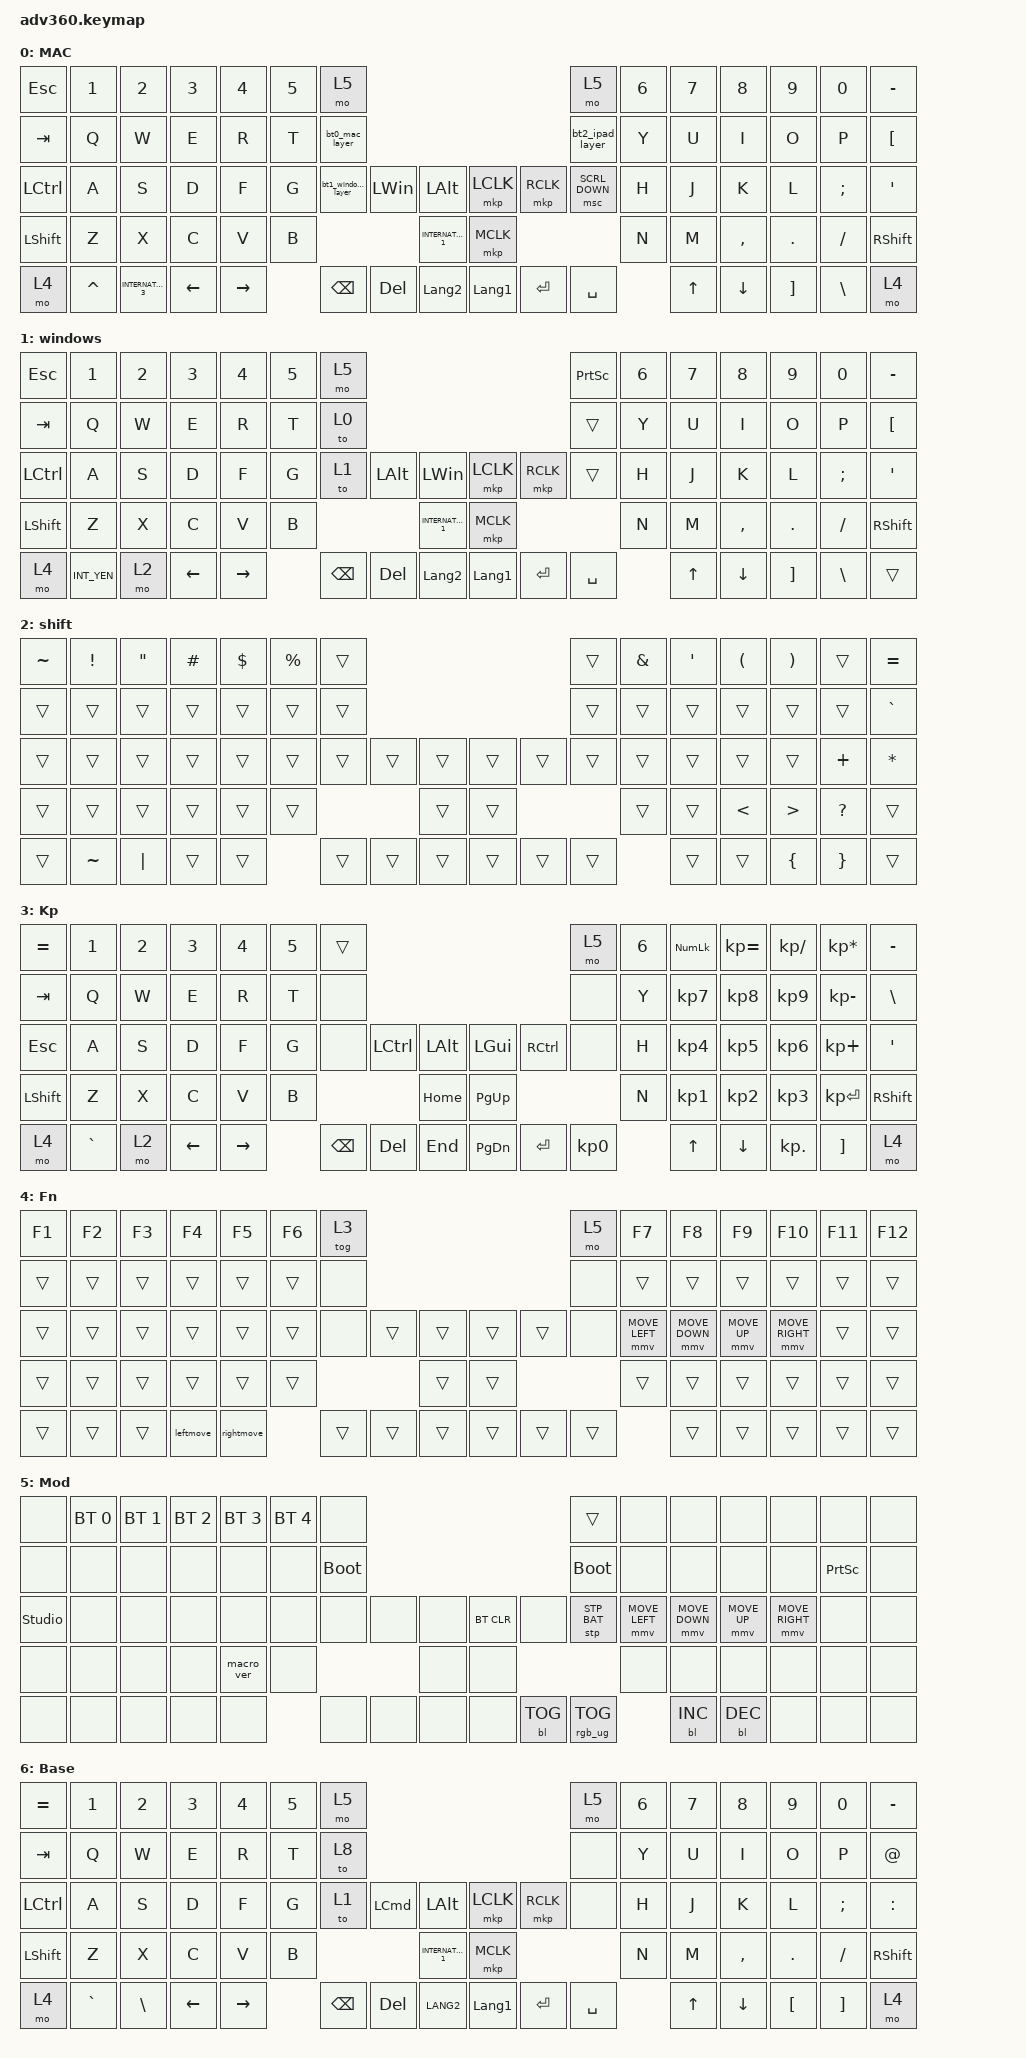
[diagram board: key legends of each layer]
#include <dt-bindings/zmk/stp.h>
#include <behaviors.dtsi>
#include <dt-bindings/zmk/backlight.h>
#include <dt-bindings/zmk/bt.h>
#include <dt-bindings/zmk/keys.h>
#include <dt-bindings/zmk/pointing.h>
#include <dt-bindings/zmk/rgb.h>

/ {
    behaviors {
        #include "macros.dtsi"
      #include "version.dtsi"

        hm: homerow_mods {
            compatible = "zmk,behavior-hold-tap";
            label = "HOMEROW_MODS";
            #binding-cells = <2>;
            tapping-term-ms = <200>;
            quick_tap_ms = <175>;
            flavor = "tap-preferred";
            bindings = <&kp>, <&kp>;
        };
    };

    combos { compatible = "zmk,combos"; };

    macros {
        leftmove: new_macro {
            compatible = "zmk,behavior-macro";
            #binding-cells = <0>;
            bindings =
                <&kp LCTRL>,
                <&macro_tap>,
                <&kp LEFT_WIN>,
                <&macro_tap>,
                <&kp LEFT>;

            label = "NEW_MACRO";
        };

        rightmove: right_move {
            compatible = "zmk,behavior-macro";
            #binding-cells = <0>;
            bindings =
                <&kp LCTRL>,
                <&macro_tap>,
                <&kp LEFT_WIN>,
                <&macro_press>,
                <&kp RIGHT>;

            label = "RIGHT_MOVE";
        };

        bt1_windows_layer: bt1_windows_layer {
            compatible = "zmk,behavior-macro";
            #binding-cells = <0>;
            bindings = <&bt BT_SEL 1 &to 1>;
            label = "BT1_WINDOWS_LAYER";
        };

        bt0_mac_layer: bt0_mac_layer {
            compatible = "zmk,behavior-macro";
            #binding-cells = <0>;
            bindings = <&bt BT_SEL 0 &to 0>;
            label = "BT0_MAC_LAYER";
        };

        bt2_ipad_layer: bt3_ipad_layer {
            compatible = "zmk,behavior-macro";
            #binding-cells = <0>;
            bindings = <&bt BT_SEL 2 &to 0>;
            label = "BT3_IPAD_LAYER";
        };
    };

    keymap {
        compatible = "zmk,keymap";

        MAC {
            bindings = <
&kp ESC    &kp N1     &kp N2               &kp N3          &kp N4     &kp N5  &mo 5                                                                                 &mo 5            &kp N6  &kp N7        &kp N8     &kp N9             &kp N0         &kp MINUS
&kp TAB    &kp Q      &kp W                &kp E           &kp R      &kp T   &bt0_mac_layer                                                                        &bt2_ipad_layer  &kp Y   &kp U         &kp I      &kp O              &kp P          &kp LEFT_BRACKET
&kp LCTRL  &kp A      &kp S                &kp D           &kp F      &kp G   &bt1_windows_layer  &kp LEFT_WIN  &kp LEFT_ALT             &mkp LCLK       &mkp RCLK  &msc SCRL_DOWN   &kp H   &kp J         &kp K      &kp L              &kp SEMICOLON  &kp SINGLE_QUOTE
&kp LSHFT  &kp Z      &kp X                &kp C           &kp V      &kp B                                     &kp INTERNATIONAL_1      &mkp MCLK                                   &kp N   &kp M         &kp COMMA  &kp PERIOD         &kp SLASH      &kp RIGHT_SHIFT
&mo 4      &kp CARET  &kp INTERNATIONAL_3  &kp LEFT_ARROW  &kp RIGHT          &kp BACKSPACE       &kp DEL       &kp LANGUAGE_2           &kp LANGUAGE_1  &kp ENTER  &kp SPACE                &kp UP_ARROW  &kp DOWN   &kp RIGHT_BRACKET  &kp BACKSLASH  &mo 4
            >;
        };

        windows {
            bindings = <
&kp ESC    &kp N1       &kp N2  &kp N3          &kp N4     &kp N5  &mo 5                                                                            &kp PRINTSCREEN  &kp N6  &kp N7        &kp N8     &kp N9             &kp N0         &kp MINUS
&kp TAB    &kp Q        &kp W   &kp E           &kp R      &kp T   &to 0                                                                            &trans           &kp Y   &kp U         &kp I      &kp O              &kp P          &kp LEFT_BRACKET
&kp LCTRL  &kp A        &kp S   &kp D           &kp F      &kp G   &to 1          &kp LEFT_ALT  &kp LEFT_WIN             &mkp LCLK       &mkp RCLK  &trans           &kp H   &kp J         &kp K      &kp L              &kp SEMICOLON  &kp SINGLE_QUOTE
&kp LSHFT  &kp Z        &kp X   &kp C           &kp V      &kp B                                &kp INTERNATIONAL_1      &mkp MCLK                                   &kp N   &kp M         &kp COMMA  &kp PERIOD         &kp SLASH      &kp RIGHT_SHIFT
&mo 4      &kp INT_YEN  &mo 2   &kp LEFT_ARROW  &kp RIGHT          &kp BACKSPACE  &kp DEL       &kp LANGUAGE_2           &kp LANGUAGE_1  &kp ENTER  &kp SPACE                &kp UP_ARROW  &kp DOWN   &kp RIGHT_BRACKET  &kp BACKSLASH  &trans
            >;
        };

        shift {
            bindings = <
&kp TILDE  &kp EXCLAMATION  &kp DOUBLE_QUOTES  &kp HASH  &kp DOLLAR  &kp PERCENT  &trans                                      &trans  &kp AMPERSAND  &kp SQT  &kp LEFT_PARENTHESIS  &kp RIGHT_PARENTHESIS  &trans           &kp EQUAL
&trans     &trans           &trans             &trans    &trans      &trans       &trans                                      &trans  &trans         &trans   &trans                &trans                 &trans           &kp GRAVE
&trans     &trans           &trans             &trans    &trans      &trans       &trans  &trans  &trans      &trans  &trans  &trans  &trans         &trans   &trans                &trans                 &kp PLUS         &kp ASTERISK
&trans     &trans           &trans             &trans    &trans      &trans                       &trans      &trans                  &trans         &trans   &kp LESS_THAN         &kp GREATER_THAN       &kp QUESTION     &trans
&trans     &kp TILDE        &kp PIPE           &trans    &trans                   &trans  &trans  &trans      &trans  &trans  &trans                 &trans   &trans                &kp LEFT_BRACE         &kp RIGHT_BRACE  &trans
            >;
        };

        keypad {
            display-name = "Kp";
            bindings = <
&kp EQUAL  &kp N1     &kp N2  &kp N3    &kp N4     &kp N5  &trans                                                   &mo 5      &kp N6  &kp KP_NUM  &kp KP_EQUAL  &kp KP_DIVIDE  &kp KP_MULTIPLY  &kp MINUS
&kp TAB    &kp Q      &kp W   &kp E     &kp R      &kp T   &none                                                    &none      &kp Y   &kp KP_N7   &kp KP_N8     &kp KP_N9      &kp KP_MINUS     &kp BSLH
&kp ESC    &kp A      &kp S   &kp D     &kp F      &kp G   &none     &kp LCTRL  &kp LALT      &kp LGUI   &kp RCTRL  &none      &kp H   &kp KP_N4   &kp KP_N5     &kp KP_N6      &kp KP_PLUS      &kp SQT
&kp LSHFT  &kp Z      &kp X   &kp C     &kp V      &kp B                        &kp HOME      &kp PG_UP                        &kp N   &kp KP_N1   &kp KP_N2     &kp KP_N3      &kp KP_ENTER     &kp RSHFT
&mo 4      &kp GRAVE  &mo 2   &kp LEFT  &kp RIGHT          &kp BSPC  &kp DEL    &kp END       &kp PG_DN  &kp ENTER  &kp KP_N0          &kp UP      &kp DOWN      &kp KP_DOT     &kp RBKT         &mo 4
            >;
        };

        fn {
            display-name = "Fn";
            bindings = <
&kp F1  &kp F2  &kp F3  &kp F4     &kp F5      &kp F6  &tog 3                                      &mo 5   &kp F7          &kp F8          &kp F9        &kp F10          &kp F11  &kp F12
&trans  &trans  &trans  &trans     &trans      &trans  &none                                       &none   &trans          &trans          &trans        &trans           &trans   &trans
&trans  &trans  &trans  &trans     &trans      &trans  &none   &trans  &trans      &trans  &trans  &none   &mmv MOVE_LEFT  &mmv MOVE_DOWN  &mmv MOVE_UP  &mmv MOVE_RIGHT  &trans   &trans
&trans  &trans  &trans  &trans     &trans      &trans                  &trans      &trans                  &trans          &trans          &trans        &trans           &trans   &trans
&trans  &trans  &trans  &leftmove  &rightmove          &trans  &trans  &trans      &trans  &trans  &trans                  &trans          &trans        &trans           &trans   &trans
            >;
        };

        mod {
            display-name = "Mod";
            bindings = <
&none           &bt BT_SEL 0  &bt BT_SEL 1  &bt BT_SEL 2  &bt BT_SEL 3  &bt BT_SEL 4  &none                                                  &trans           &none           &none           &none         &none            &none            &none
&none           &none         &none         &none         &none         &none         &bootloader                                            &bootloader      &none           &none           &none         &none            &kp PRINTSCREEN  &none
&studio_unlock  &none         &none         &none         &none         &none         &none        &none  &none      &bt BT_CLR  &none       &stp STP_BAT     &mmv MOVE_LEFT  &mmv MOVE_DOWN  &mmv MOVE_UP  &mmv MOVE_RIGHT  &none            &none
&none           &none         &none         &none         &macro_ver    &none                             &none      &none                                    &none           &none           &none         &none            &none            &none
&none           &none         &none         &none         &none                       &none        &none  &none      &none       &bl BL_TOG  &rgb_ug RGB_TOG                  &bl BL_INC      &bl BL_DEC    &none            &none            &none
            >;
        };

        extra1 {
            display-name = "Red";
            status = "reserved";
        };

        default_layer {
            display-name = "Base";
            bindings = <
&kp EQUAL       &kp N1     &kp N2         &kp N3    &kp N4     &kp N5  &mo 5                                                                           &mo 5      &kp N6  &kp N7  &kp N8     &kp N9    &kp N0    &kp MINUS
&kp TAB         &kp Q      &kp W          &kp E     &kp R      &kp T   &to 8                                                                           &none      &kp Y   &kp U   &kp I      &kp O     &kp P     &kp AT_SIGN
&kp LCTRL       &kp A      &kp S          &kp D     &kp F      &kp G   &to 1     &kp LEFT_COMMAND  &kp LALT                 &mkp LCLK       &mkp RCLK  &none      &kp H   &kp J   &kp K      &kp L     &kp SEMI  &kp COLON
&kp LEFT_SHIFT  &kp Z      &kp X          &kp C     &kp V      &kp B                               &kp INTERNATIONAL_1      &mkp MCLK                             &kp N   &kp M   &kp COMMA  &kp DOT   &kp FSLH  &kp RSHFT
&mo 4           &kp GRAVE  &kp BACKSLASH  &kp LEFT  &kp RIGHT          &kp BSPC  &kp DEL           &kp LANG2                &kp LANGUAGE_1  &kp ENTER  &kp SPACE          &kp UP  &kp DOWN   &kp LBKT  &kp RBKT  &mo 4
            >;
        };

        extra2 {
            display-name = "Purple";
            status = "reserved";
        };

        extra3 {
            display-name = "Cyan";
            status = "reserved";
        };

        extra4 {
            display-name = "Yellow";
            status = "reserved";
        };
    };
};
